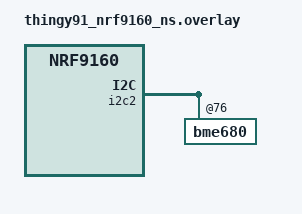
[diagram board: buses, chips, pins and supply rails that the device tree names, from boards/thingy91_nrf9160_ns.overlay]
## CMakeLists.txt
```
#
# Copyright (c) 2022 Nordic Semiconductor ASA
#
# SPDX-License-Identifier: LicenseRef-Nordic-5-Clause
#

cmake_minimum_required(VERSION 3.20.0)

find_package(Zephyr REQUIRED HINTS $ENV{ZEPHYR_BASE})
project(nrf_cloud_mqtt_multi_service)
zephyr_compile_definitions(PROJECT_NAME=${PROJECT_NAME})

# NORDIC SDK APP START
target_sources(app PRIVATE src/main.c)
target_sources(app PRIVATE src/application.c)
target_sources(app PRIVATE src/connection.c)
target_sources(app PRIVATE src/temperature.c)
target_sources(app PRIVATE src/fota_support.c)
target_sources(app PRIVATE src/led_control.c)
target_sources(app PRIVATE src/location_tracking.c)
# NORDIC SDK APP END

zephyr_include_directories(src)
```

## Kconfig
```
#
# Copyright (c) 2022 Nordic Semiconductor ASA
#
# SPDX-License-Identifier: LicenseRef-Nordic-5-Clause
#

menu "MQTT Multi Service Sample Settings"

config APP_VERSION
	string "MQTT Multi Service Sample version"
	default "1.0.0"

config POWER_SAVING_MODE_ENABLE
	bool "Enable Power Saving Mode (PSM)"
	help
	  Enable to request Power Saving Mode from cellular network.

config LTE_INIT_RETRY_TIMEOUT_SECONDS
	int "LTE initialization retry timeout (seconds)"
	default 30
	help
	  Sets the number of seconds between each LTE modem initialization
	  retry.

config CLOUD_CONNECTION_RETRY_TIMEOUT_SECONDS
	int "Cloud connection retry timeout (seconds)"
	default 30
	help
	  If connecting to nRF Cloud takes longer than this timeout, it will be
	  reattempted.

config CLOUD_CONNECTION_REESTABLISH_DELAY_SECONDS
	int "Cloud connection reestablishment delay (seconds)"
	default 5
	help
	  After the connection to nRF Cloud has been reset, wait this amount of
	  time before attempting to connect again.

config CLOUD_READY_TIMEOUT_SECONDS
	int "Cloud readiness timeout (seconds)"
	default 600
	help
	  If the connection to nRF Cloud does not become ready within this
	  timeout, the sample will reset its connection and try again.

config DATE_TIME_ESTABLISHMENT_TIMEOUT_SECONDS
	int "Modem date and time establishment timeout (seconds)"
	default 300
	help
	  The sample will wait this many seconds for the modem to determine the
	  current date and time before giving up and moving on.

config APPLICATION_THREAD_STACK_SIZE
	int "Application Thread Stack Size (bytes)"
	default 2048
	help
	  Sets the stack size (in bytes) for the application thread of the
	  sample.

config CONNECTION_THREAD_STACK_SIZE
	int "Connection Thread Stack Size (bytes)"
	default 2048
	help
	  Sets the stack size (in bytes) for the connection thread of the
	  sample.

config MESSAGE_THREAD_STACK_SIZE
	int "Message Queue Thread Stack Size (bytes)"
	default 2048
	help
	  Sets the stack size (in bytes) for the message queue processing
	  thread of the sample.

config LED_THREAD_STACK_SIZE
	int "LED Thread Stack Size (bytes)"
	default 512
	help
	  Sets the stack size (in bytes) for the LED thread.

config MAX_OUTGOING_MESSAGES
	int "Outgoing message maximum"
	default 64
	help
	  Sets the maximum number of device messages which may be enqueued
	  before further messages are dropped.

config MAX_CONSECUTIVE_SEND_FAILURES
	int "Max outgoing consecutive send failures"
	default 5
	help
	  Sets the maximum number of device messages which may fail to send
	  before a connection reset and cooldown is triggered.

config CONSECUTIVE_SEND_FAILURE_COOLDOWN_SECONDS
	int "Cooldown after max consecutive send failures exceeded"
	default 10
	help
	  If a connection reset is triggered by too many failed device
	  messages, the sample will wait this long (in seconds) before trying
	  again.

config SENSOR_SAMPLE_INTERVAL_SECONDS
	int "Sensor sampling interval (seconds)"
	default 60
	help
	  Sets the time to wait between each sensor sample.

config LOCATION_TRACKING_SAMPLE_INTERVAL_SECONDS
	int "Location sampling interval (seconds)"
	default 60
	help
	  Sets the location sampling interval in seconds.

config LOCATION_TRACKING_GNSS
	bool "Use GNSS method for location tracking"
	default y
	depends on LOCATION_METHOD_GNSS
	help
	  Disable all location tracking methods to completely disable location tracking.

config LOCATION_TRACKING_CELLULAR
	bool "Use cellular method for location tracking"
	default y
	depends on LOCATION_METHOD_CELLULAR
	help
	  Disable all location tracking methods to completely disable location tracking.

config LOCATION_TRACKING_WIFI
	bool "Use Wi-Fi method for location tracking"
	default n
	depends on LOCATION_METHOD_WIFI
	help
	  Requires the use of an nRF7002 companion chip.
	  Disable all location tracking methods to completely disable location tracking.

config TEMP_DATA_USE_SENSOR
	bool "Use genuine temperature data"
	depends on BOARD_THINGY91_NRF9160_NS
	default y if BOARD_THINGY91_NRF9160_NS
	select SENSOR
	select BME680
	help
	  Sets whether to take genuine temperature measurements from a
	  connected BME680 sensor, or just simulate sensor data.

config TEMP_TRACKING
	bool "Track temperature"
	default y
	help
	  Sets whether to take temperature measurements.

config TEMP_ALERT_LIMIT
	int "Temperature limit to send alert"
	default 30
	help
	  Sets the temperature in degrees C over which a temperature alert will
	  be sent to the cloud.

choice
	prompt "LED indication"
	default LED_INDICATION_PWM if BOARD_THINGY91_NRF9160_NS
	default LED_INDICATION_GPIO if BOARD_NRF9160DK_NRF9160_NS || $(dt_compat_enabled,gpio-leds)
	default LED_INDICATION_DISABLED

	config LED_INDICATION_PWM
		select LED
		select LED_PWM
		select PWM
		bool "Enable LED indication using the pwm-leds driver"

	config LED_INDICATION_GPIO
		select LED
		select LED_GPIO
		bool "Enable LED indication using the gpio-leds driver"

	config LED_INDICATION_DISABLED
		bool "Disable LED indication"
endchoice

choice
	prompt "LED indication LED type"
	depends on !LED_INDICATION_DISABLED
	default LED_INDICATOR_RGB if BOARD_THINGY91_NRF9160_NS && LED_INDICATION_PWM
	default LED_INDICATOR_4LED if !LED_INDICATION_DISABLED
	default LED_INDICATOR_NONE

	config LED_INDICATOR_RGB
		depends on LED_INDICATION_PWM
		bool "A single RGB LED"

	config LED_INDICATOR_4LED
		depends on !LED_INDICATION_DISABLED
		bool "Four binary LEDs"

	config LED_INDICATOR_NONE
		depends on LED_INDICATION_DISABLED
		bool "No indicator LEDs"

endchoice

config LED_VERBOSE_INDICATION
	depends on !LED_INDICATION_DISABLED
	bool "Enables extra LED status indications"
	default y

config LED_CONTINUOUS_INDICATION
	depends on !LED_INDICATION_DISABLED
	bool "Show an idle pattern instead of turning LEDs off"
	default y

config GNSS_FIX_TIMEOUT_SECONDS
	int "GNSS Fix timeout"
	default 40
	help
	  On each location sample, try for this long to achieve a GNSS fix
	  before falling back to cellular positioning.
	  Set this to 20 or so seconds below the sensor sample interval so
	  that there is time left over to perform cellular positioning.
	  Otherwise, location samples may occur at a longer interval than
	  requested.

config TEST_COUNTER
	bool "Sets whether the test counter is enabled"

config AT_CMD_REQUESTS
	bool "Enables remote execution of AT commands using device messages"
	default y

config AT_CMD_REQUEST_RESPONSE_BUFFER_LENGTH
	int "Max length (in bytes) for Modem responses during AT command requests"
	help
	  Responses to modem AT commands are stored in a buffer of this length before being sent to
	  nRF Cloud. If a response from the modem exceeds this length, it will be dropped, and an
	  error code sent in its place (-NRF_E2BIG). Cannot be less than 40 bytes.
	default 200

endmenu

module = MQTT_MULTI_SERVICE
module-str = MQTT Multi Service
source "${ZEPHYR_BASE}/subsys/logging/Kconfig.template.log_config"

menu "Zephyr Kernel"
source "Kconfig.zephyr"
endmenu
```

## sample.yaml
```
sample:
  name: nRF Cloud MQTT Multi Service Sample
tests:
  sample.nrf9160.nrf_cloud_mqtt_multi_service:
    build_only: true
    platform_allow: nrf9160dk_nrf9160_ns thingy91_nrf9160_ns
    integration_platforms:
      - nrf9160dk_nrf9160_ns
      - thingy91_nrf9160_ns
    tags: ci_build
```

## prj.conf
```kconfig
#
# Copyright (c) 2022 Nordic Semiconductor ASA
#
# SPDX-License-Identifier: LicenseRef-Nordic-5-Clause
#

# Log level
# For more verbose and detailed log output, set the log level to
# CONFIG_MQTT_MULTI_SERVICE_LOG_LEVEL_DBG=y instead.
CONFIG_MQTT_MULTI_SERVICE_LOG_LEVEL_INF=y

# General config
CONFIG_EVENTS=y
CONFIG_NEWLIB_LIBC=y
CONFIG_NEWLIB_LIBC_FLOAT_PRINTF=y
CONFIG_RESET_ON_FATAL_ERROR=y
CONFIG_NCS_SAMPLES_DEFAULTS=y

#LED indication
# Uncomment these to minimize LED state indication when power savings are necessary
# CONFIG_LED_VERBOSE_INDICATION=n
# CONFIG_LED_CONTINUOUS_INDICATION=n

# Or, uncomment this to completely disable LED state indication
# CONFIG_LED_INDICATION_DISABLED=y

# Improved Logging
# CONFIG_LOG_MODE_DEFERRED allows logging from multiple threads simultaneously without creating
# splintered log entries, at the cost of needing a buffer for storing logs.
CONFIG_LOG_MODE_DEFERRED=y

# CONFIG_LOG_BUFFER_SIZE is the aforementioned buffer. A size of 4096 bytes is useful for debugging
# and prototyping, but is probably more than necessary for production-ready firmware.
CONFIG_LOG_BUFFER_SIZE=4096

# Heap and stacks
# Extended memory heap size needed both for PGPS and for encoding JSON-based nRF Cloud Device Messages.
CONFIG_HEAP_MEM_POOL_SIZE=24576
CONFIG_SYSTEM_WORKQUEUE_STACK_SIZE=3072

# Network
CONFIG_NETWORKING=y
CONFIG_NET_NATIVE=n
CONFIG_NET_SOCKETS=y
CONFIG_NET_SOCKETS_OFFLOAD=y

# Modem library
CONFIG_NRF_MODEM_LIB=y

# AT commands interface
CONFIG_UART_INTERRUPT_DRIVEN=y
CONFIG_AT_HOST_LIBRARY=y

# nRF Cloud
CONFIG_NRF_CLOUD_MQTT=y # This also enables FOTA by implicitly setting CONFIG_NRF_CLOUD_FOTA=y

# MQTT
CONFIG_MQTT_KEEPALIVE=120

# MCUBOOT - Needed by FOTA
CONFIG_BOOTLOADER_MCUBOOT=y
CONFIG_IMG_MANAGER=y
CONFIG_MCUBOOT_IMG_MANAGER=y
CONFIG_STREAM_FLASH_ERASE=y

# Location Services configuration
CONFIG_LOCATION=y
CONFIG_LOCATION_METHOD_GNSS=y
CONFIG_LOCATION_METHOD_CELLULAR=y
CONFIG_NRF_CLOUD_AGPS=y
CONFIG_NRF_CLOUD_LOCATION=y
CONFIG_MODEM_INFO=y
CONFIG_MODEM_INFO_ADD_NETWORK=y
CONFIG_NRF_CLOUD_PGPS=y
CONFIG_NRF_CLOUD_PGPS_REPLACEMENT_THRESHOLD=4
CONFIG_NRF_CLOUD_PGPS_REQUEST_UPON_INIT=y

# Date Time lib - Used by PGPS and main application
CONFIG_DATE_TIME=y

# LTE link control - used by PGPS and main application
CONFIG_LTE_LINK_CONTROL=y
CONFIG_LTE_NETWORK_MODE_LTE_M_GPS=y

# Settings - used by nRF Cloud library and PGPS
CONFIG_SETTINGS=y
CONFIG_SETTINGS_FCB=y
CONFIG_FCB=y

# Download Client - used by FOTA and PGPS
CONFIG_DOWNLOAD_CLIENT=y
CONFIG_DOWNLOAD_CLIENT_HTTP_FRAG_SIZE_1024=y
CONFIG_DOWNLOAD_CLIENT_STACK_SIZE=4096
CONFIG_DOWNLOAD_CLIENT_BUF_SIZE=2300
CONFIG_DOWNLOAD_CLIENT_MAX_HOSTNAME_SIZE=128

# Flash - Used by FOTA and PGPS
CONFIG_FLASH=y
CONFIG_FLASH_PAGE_LAYOUT=y
CONFIG_FLASH_MAP=y
CONFIG_STREAM_FLASH=y
CONFIG_MPU_ALLOW_FLASH_WRITE=y
CONFIG_PM_EXTERNAL_FLASH_MCUBOOT_SECONDARY=n
CONFIG_NRF_CLOUD_ALERT=y
CONFIG_NRF_CLOUD_LOG_DIRECT=y
CONFIG_NRF_CLOUD_LOG_OUTPUT_LEVEL=3
```

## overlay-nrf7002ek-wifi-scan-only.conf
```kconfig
#
# Copyright (c) 2022 Nordic Semiconductor ASA
#
# SPDX-License-Identifier: LicenseRef-Nordic-5-Clause
#

# Overlay to use nRF7002 EK on top of nrf9160 DK for Wi-Fi scanning

# Enable the Wi-Fi location method:
CONFIG_LOCATION_TRACKING_WIFI=y
CONFIG_LOCATION_METHOD_WIFI=y
# Align this with CONFIG_NRF700X_SCAN_LIMIT.
# Also see comments for CONFIG_HEAP_MEM_POOL_SIZE.
CONFIG_LOCATION_METHOD_WIFI_SCANNING_RESULTS_MAX_CNT=60
CONFIG_LOCATION_WORKQUEUE_STACK_SIZE=8192

# Enable Wi-Fi drivers, (and the native NET stack so that the location library can access them)
CONFIG_WIFI=y
CONFIG_NRF_WIFI700X=y
# Align this with CONFIG_LOCATION_METHOD_WIFI_SCANNING_RESULTS_MAX_CNT.
# Also see comments for CONFIG_HEAP_MEM_POOL_SIZE.
CONFIG_NRF700X_SCAN_LIMIT=60
CONFIG_NET_L2_ETHERNET=y
CONFIG_NET_NATIVE=y

# But disable the supplicant and local networking features, since we don't need connectivity
CONFIG_WPA_SUPP=n
CONFIG_MBEDTLS=n
CONFIG_NET_IPV4=n
CONFIG_NET_IPV6=n
CONFIG_NET_UDP=n
CONFIG_NET_TCP=n
CONFIG_NORDIC_SECURITY_BACKEND=n

# Stack/heap tweaks needed to support Wi-Fi.
# Wi-Fi shell sample has 25000 heap size. We need a bit more for location request purposes.
# Heap allocation should be changed when CONFIG_LOCATION_METHOD_WIFI_SCANNING_RESULTS_MAX_CNT
# and CONFIG_NRF700X_SCAN_LIMIT (which should be the same value) are changed.
CONFIG_HEAP_MEM_POOL_SIZE=40000
CONFIG_MAIN_STACK_SIZE=2048
CONFIG_NET_MGMT_EVENT_STACK_SIZE=2048

# NET tweaks needed to support Wi-FI
CONFIG_NET_BUF_RX_COUNT=8
CONFIG_NET_BUF_TX_COUNT=8
CONFIG_NET_PKT_RX_COUNT=1
CONFIG_NET_PKT_TX_COUNT=1
CONFIG_NET_TX_STACK_SIZE=4096
CONFIG_NET_RX_STACK_SIZE=4096
CONFIG_NET_TC_TX_COUNT=1
CONFIG_NET_MAX_CONTEXTS=5

# Disable LED patterns, enabling WiFi scanning takes control of two LEDs
CONFIG_LED_INDICATION_DISABLED=y
```

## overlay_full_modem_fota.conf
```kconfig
# Copyright (c) 2021 Nordic Semiconductor ASA
#
# SPDX-License-Identifier: LicenseRef-Nordic-5-Clause
#

# Full Modem FOTA
CONFIG_NRF_CLOUD_FOTA_FULL_MODEM_UPDATE=y
CONFIG_NRF_MODEM_LIB_SYS_INIT=n
CONFIG_SPI=y
CONFIG_SPI_NOR=y
CONFIG_SPI_NOR_FLASH_LAYOUT_PAGE_SIZE=4096
# FMFU_FDEV requires additional stack space
CONFIG_CONNECTION_THREAD_STACK_SIZE=4096
CONFIG_DFU_TARGET_FULL_MODEM_USE_EXT_PARTITION=y
CONFIG_PM_OVERRIDE_EXTERNAL_DRIVER_CHECK=y
CONFIG_PM_EXTERNAL_FLASH_MCUBOOT_SECONDARY=n
CONFIG_PM_SINGLE_IMAGE=y
```

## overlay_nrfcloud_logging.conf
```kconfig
#
# Copyright (c) 2023 Nordic Semiconductor ASA
#
# SPDX-License-Identifier: LicenseRef-Nordic-5-Clause
#
CONFIG_NRF_CLOUD_LOG_BACKEND=y
CONFIG_NRF_CLOUD_LOG_OUTPUT_LEVEL=3
CONFIG_NRF_CLOUD_LOG_LEVEL_DBG=y
CONFIG_NRF_CLOUD_LOG_LOG_LEVEL_INF=y
CONFIG_LOG_MODE_DEFERRED=y

# If enabled, log levels for each log source can be set per log backend, and
# can be changed dynamically.
CONFIG_LOG_RUNTIME_FILTERING=n

CONFIG_LOG_BUFFER_SIZE=4096

# Select which format to generate. Dictionary logs are compact but require
# decoding on the server or user PC.  Text logs are verbose but immediately
# visible in the nRF Cloud web portal.
CONFIG_LOG_BACKEND_NRF_CLOUD_OUTPUT_DICTIONARY=y
#CONFIG_NRF_CLOUD_LOG_DICT_JSON=y
#CONFIG_LOG_BACKEND_NRF_CLOUD_OUTPUT_TEXT=y

CONFIG_LOG_PROCESS_THREAD_STACK_SIZE=4096
CONFIG_LOG_PROCESS_THREAD_SLEEP_MS=30000
CONFIG_TEMP_ALERT_LIMIT=24
```

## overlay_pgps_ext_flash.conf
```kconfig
#
# Copyright (c) 2022 Nordic Semiconductor ASA
#
# SPDX-License-Identifier: LicenseRef-Nordic-5-Clause
#

CONFIG_PM_OVERRIDE_EXTERNAL_DRIVER_CHECK=y

CONFIG_PM_PARTITION_REGION_PGPS_EXTERNAL=y
CONFIG_NRF_CLOUD_PGPS_STORAGE_PARTITION=y
CONFIG_PM_EXTERNAL_FLASH_MCUBOOT_SECONDARY=n
CONFIG_SPI=y
CONFIG_SPI_NOR=y
CONFIG_SPI_NOR_FLASH_LAYOUT_PAGE_SIZE=4096
```

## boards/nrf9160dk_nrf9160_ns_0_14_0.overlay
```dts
/*
 * Copyright (c) 2022 Nordic Semiconductor ASA
 *
 * SPDX-License-Identifier: LicenseRef-Nordic-5-Clause
 */

/ {
	chosen {
		nordic,pm-ext-flash = &mx25r64;
	};
};

/* External flash device is disabled by default */
&mx25r64 {
	status = "okay";
};
```

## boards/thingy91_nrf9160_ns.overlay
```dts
/* Copyright (c) 2022 Nordic Semiconductor ASA
 *
 * SPDX-License-Identifier: LicenseRef-Nordic-5-Clause
 */

/ {
	aliases {
		temp-sensor = &bme680;
	};
};

&i2c2 {
	bme680: bme680@76 {};
};
```

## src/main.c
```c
/* Copyright (c) 2022 Nordic Semiconductor ASA
 *
 * SPDX-License-Identifier: LicenseRef-Nordic-5-Clause
 */

#include <zephyr/kernel.h>
#include <stdio.h>
#include <zephyr/logging/log.h>
#include "application.h"
#include "connection.h"
#include "led_control.h"

LOG_MODULE_REGISTER(main, CONFIG_MQTT_MULTI_SERVICE_LOG_LEVEL);

/* Here, we start the various threads that our application will run in */

#ifndef CONFIG_LED_INDICATION_DISABLED
/* Define, and automatically start the LED animation thread. See led_control.c */
K_THREAD_DEFINE(led_thread, CONFIG_LED_THREAD_STACK_SIZE, led_animation_thread_fn,
		NULL, NULL, NULL, 0, 0, 0);
#endif

/* Define, and automatically start the main application thread. See application.c */
K_THREAD_DEFINE(app_thread, CONFIG_APPLICATION_THREAD_STACK_SIZE, main_application_thread_fn,
		NULL, NULL, NULL, 0, 0, 0);

/* Define, and automatically start the message queue thread. See connection.c */
K_THREAD_DEFINE(msg_thread, CONFIG_MESSAGE_THREAD_STACK_SIZE, message_queue_thread_fn,
		NULL, NULL, NULL, 0, 0, 0);

/* Define, and automatically start the connection management thread. See connection.c
 *
 * The connection thread is given higher priority (-1) so that it can preempt the other threads,
 * for instance in the event of a call to disconnect_cloud().
 *
 * Priority -1 is also a non-preeemptible priority level, so other threads, even of higher
 * priority, cannot interrupt the connection thread until it yields.
 */
K_THREAD_DEFINE(con_thread, CONFIG_CONNECTION_THREAD_STACK_SIZE, connection_management_thread_fn,
		NULL, NULL, NULL, -1, 0, 0);

/* main() is called from the main thread, which defaults to priority zero,
 * but for illustrative purposes we don't use it. main_application() could be called directly
 * from this function, rather than given its own dedicated thread.
 */
int main(void)
{
	LOG_INF("nRF Cloud MQTT multi-service sample has started, version: %s", CONFIG_APP_VERSION);
	return 0;
}
```

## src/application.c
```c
/* Copyright (c) 2022 Nordic Semiconductor ASA
 *
 * SPDX-License-Identifier: LicenseRef-Nordic-5-Clause
 */

#include <zephyr/kernel.h>
#include <zephyr/logging/log.h>
#include <modem/location.h>
#include <nrf_modem_at.h>
#include <nrf_errno.h>
#include <net/nrf_cloud.h>
#include <net/nrf_cloud_codec.h>
#include <net/nrf_cloud_log.h>
#include <net/nrf_cloud_alert.h>
#include <date_time.h>
#include <stdio.h>

#include "application.h"
#include "temperature.h"
#include "connection.h"

#include "location_tracking.h"
#include "led_control.h"

LOG_MODULE_REGISTER(application, CONFIG_MQTT_MULTI_SERVICE_LOG_LEVEL);

/* Timer used to time the sensor sampling rate. */
static K_TIMER_DEFINE(sensor_sample_timer, NULL, NULL);

/* AT command request error handling */
#define AT_CMD_REQUEST_ERR_FORMAT "Error while processing AT command request: %d"
#define AT_CMD_REQUEST_ERR_MAX_LEN (sizeof(AT_CMD_REQUEST_ERR_FORMAT) + 20)
BUILD_ASSERT(CONFIG_AT_CMD_REQUEST_RESPONSE_BUFFER_LENGTH >= AT_CMD_REQUEST_ERR_MAX_LEN,
	     "Not enough AT command response buffer for printing error events.");

/* Temperature alert limits. */
#define TEMP_ALERT_LIMIT ((float)CONFIG_TEMP_ALERT_LIMIT)
#define TEMP_ALERT_HYSTERESIS 1.5f
#define TEMP_ALERT_LOWER_LIMIT (TEMP_ALERT_LIMIT - TEMP_ALERT_HYSTERESIS)

/* Buffer to contain modem responses when performing AT command requests */
static char at_req_resp_buf[CONFIG_AT_CMD_REQUEST_RESPONSE_BUFFER_LENGTH];

/**
 * @brief Construct a device message object with automatically generated timestamp
 *
 * The resultant JSON object will be conformal to the General Message Schema described in the
 * application-protocols repo:
 *
 * https://github.com/nRFCloud/application-protocols
 *
 * @param msg - The object to contain the message
 * @param appid - The appId for the device message
 * @param msg_type - The messageType for the device message
 * @return int - 0 on success, negative error code otherwise.
 */
static int create_timestamped_device_message(struct nrf_cloud_obj *const msg,
					     const char *const appid,
					     const char *const msg_type)
{
	int err;
	int64_t timestamp;

	/* Acquire timestamp */
	err = date_time_now(&timestamp);
	if (err) {
		LOG_ERR("Failed to obtain current time, error %d", err);
		return -ETIME;
	}

	/* Create message object */
	err = nrf_cloud_obj_msg_init(msg, appid, msg_type);
	if (err) {
		LOG_ERR("Failed to initialize message with appid %s and msg type %s",
			appid, msg_type);
		return err;
	}

	/* Add timestamp to message object */
	err = nrf_cloud_obj_ts_add(msg, timestamp);
	if (err) {
		LOG_ERR("Failed to add timestamp to data message with appid %s and msg type %s",
			appid, msg_type);
		nrf_cloud_obj_free(msg);
		return err;
	}

	return 0;
}

/**
 * @brief Transmit a collected sensor sample to nRF Cloud.
 *
 * @param sensor - The name of the sensor which was sampled.
 * @param value - The sampled sensor value.
 * @return int - 0 on success, negative error code otherwise.
 */
static int send_sensor_sample(const char *const sensor, double value)
{
	int ret;

	NRF_CLOUD_OBJ_JSON_DEFINE(msg_obj);

	/* Create a timestamped message container object for the sensor sample. */
	ret = create_timestamped_device_message(&msg_obj, sensor,
						NRF_CLOUD_JSON_MSG_TYPE_VAL_DATA);
	if (ret) {
		return -EINVAL;
	}

	/* Populate the container object with the sensor value. */
	ret = nrf_cloud_obj_num_add(&msg_obj, NRF_CLOUD_JSON_DATA_KEY, value, false);
	if (ret) {
		LOG_ERR("Failed to append value to %s sample container object ",
			sensor);
		nrf_cloud_obj_free(&msg_obj);
		return -ENOMEM;
	}

	/* Send the sensor sample container object as a device message. */
	return send_device_message(&msg_obj);
}

/**
 * @brief Transmit a collected GNSS sample to nRF Cloud.
 *
 * @param loc_gnss - GNSS location data.
 * @return int - 0 on success, negative error code otherwise.
 */
static int send_gnss(const struct location_event_data * const loc_gnss)
{
	if (!loc_gnss || (loc_gnss->method != LOCATION_METHOD_GNSS)) {
		return -EINVAL;
	}

	int ret = 0;
	struct nrf_cloud_gnss_data gnss_pvt = {
		.type = NRF_CLOUD_GNSS_TYPE_PVT,
		.ts_ms = NRF_CLOUD_NO_TIMESTAMP,
		.pvt = {
			.lon		= loc_gnss->location.longitude,
			.lat		= loc_gnss->location.latitude,
			.accuracy	= loc_gnss->location.accuracy,
			.has_alt	= 0,
			.has_speed	= 0,
			.has_heading	= 0
		}
	};
	NRF_CLOUD_OBJ_JSON_DEFINE(msg_obj);

	/* Add the timestamp */
	(void)date_time_now(&gnss_pvt.ts_ms);

	/* Encode the location data into a device message */
	ret = nrf_cloud_obj_gnss_msg_create(&msg_obj, &gnss_pvt);

	if (ret == 0) {
		/* Send the location message */
		ret = send_device_message(&msg_obj);
	}

	return ret;
}

/**
 * @brief Callback to receive periodic location updates from location_tracking.c and forward them
 * to nRF Cloud.
 *
 * Note that cellular positioning (MCELL/Multi-Cell and SCELL/Single-Cell) is sent to nRF
 * Cloud automatically (since the Location library and nRF Cloud must work together to
 * determine them in the first place). GNSS positions, on the other hand, must be
 * sent manually, since they are determined entirely on-device.
 *
 * @param location_data - The received location update.
 *
 */
static void on_location_update(const struct location_event_data * const location_data)
{
	LOG_INF("Location Updated: %.06f N %.06f W, accuracy: %.01f m, Method: %s",
		location_data->location.latitude,
		location_data->location.longitude,
		location_data->location.accuracy,
		location_method_str(location_data->method));

	/* If the position update was derived using GNSS, send it onward to nRF Cloud. */
	if (location_data->method == LOCATION_METHOD_GNSS) {
		LOG_INF("GNSS Position Update! Sending to nRF Cloud...");
		send_gnss(location_data);
	}
}

/**
 * @brief Receives general device messages from nRF Cloud, checks if they are AT command requests,
 * and performs them if so, transmitting the modem response back to nRF Cloud.
 *
 * Try sending {"appId":"MODEM", "messageType":"CMD", "data":"AT+CGMR"}
 * in the nRF Cloud Portal Terminal card.
 *
 * @param msg - The device message to check.
 */
static void handle_at_cmd_requests(const struct nrf_cloud_data *const dev_msg)
{
	char *cmd;
	struct nrf_cloud_obj msg_obj;
	int err = nrf_cloud_obj_input_decode(&msg_obj, dev_msg);

	if (err) {
		/* The message isn't JSON or otherwise couldn't be parsed. */
		LOG_DBG("A general topic device message of length %d could not be parsed.",
			dev_msg->len);
		return;
	}

	/* Confirm app ID and message type */
	err = nrf_cloud_obj_msg_check(&msg_obj, NRF_CLOUD_JSON_APPID_VAL_MODEM,
				      NRF_CLOUD_JSON_MSG_TYPE_VAL_CMD);
	if (err) {
		goto cleanup;
	}

	/* Get the command string */
	err = nrf_cloud_obj_str_get(&msg_obj, NRF_CLOUD_JSON_DATA_KEY, &cmd);
	if (err) {
		/* Missing or invalid command value will be treated as a blank command */
		cmd = "";
	}

	/* Execute the command and receive the result */
	LOG_DBG("Modem AT command requested: %s", cmd);
	memset(at_req_resp_buf, 0, sizeof(at_req_resp_buf));

	/* We must pass the command in using a format specifier it might contain special characters
	 * such as %.
	 *
	 * We subtract 1 from the passed-in response buffer length to ensure that the response is
	 * always null-terminated, even when the response is longer than the response buffer size.
	 */
	err = nrf_modem_at_cmd(at_req_resp_buf, sizeof(at_req_resp_buf) - 1, "%s", cmd);

	LOG_DBG("Modem AT command response (%d, %d): %s",
		nrf_modem_at_err_type(err), nrf_modem_at_err(err), at_req_resp_buf);

	/* Trim \r\n from modem response for better readability in the portal. */
	at_req_resp_buf[MAX(0, strlen(at_req_resp_buf) - 2)] = '\0';

	/* If an error occurred with the request, report it */
	if (err < 0) {
		/* Negative error codes indicate an error with the modem lib itself, so the
		 * response buffer will be empty (or filled with junk). Thus, we can print the
		 * error message directly into it.
		 */
		snprintf(at_req_resp_buf, sizeof(at_req_resp_buf), AT_CMD_REQUEST_ERR_FORMAT, err);
		LOG_ERR("%s", at_req_resp_buf);
	}

	/* To re-use msg_obj for the response message we must first free its memory and
	 * reset its state.
	 * The cmd string will no longer be valid after msg_obj is freed.
	 */
	cmd = NULL;
	/* Free the object's allocated memory */
	(void)nrf_cloud_obj_free(&msg_obj);
	/* Reset the object's state */
	(void)nrf_cloud_obj_reset(&msg_obj);

	err = create_timestamped_device_message(&msg_obj, NRF_CLOUD_JSON_APPID_VAL_MODEM,
						NRF_CLOUD_JSON_MSG_TYPE_VAL_DATA);
	if (err) {
		return;
	}

	/* Populate response with command result */
	err = nrf_cloud_obj_str_add(&msg_obj, NRF_CLOUD_JSON_DATA_KEY, at_req_resp_buf, false);
	if (err) {
		LOG_ERR("Failed to populate AT CMD response with modem response data");
		goto cleanup;
	}

	/* Send the response */
	err = send_device_message(&msg_obj);
	if (err) {
		LOG_ERR("Failed to send AT CMD request response, error: %d", err);
	}

	return;

cleanup:
	(void)nrf_cloud_obj_free(&msg_obj);
}

/** @brief Check whether temperature is acceptable.
 * If the device exceeds a temperature limit, send the temperature alert one time.
 * Once the temperature falls below a lower limit, re-enable the temperature alert
 * so it will be sent if limit is exceeded again.
 *
 * The difference between the two limits should be sufficient to prevent sending
 * new alerts if the temperature value oscillates between two nearby values.
 *
 * @param temp - The current device temperature.
 */
static void monitor_temperature(double temp)
{
	static bool temperature_alert_active;

	if ((temp > TEMP_ALERT_LIMIT) && !temperature_alert_active) {
		temperature_alert_active = true;
		(void)nrf_cloud_alert_send(ALERT_TYPE_TEMPERATURE, (float)temp,
					   "Temperature over limit!");
		LOG_INF("Temperature limit %f C exceeded: now %f C.",
			TEMP_ALERT_LIMIT, temp);
	} else if ((temp < TEMP_ALERT_LOWER_LIMIT) && temperature_alert_active) {
		temperature_alert_active = false;
		LOG_INF("Temperature now below limit: %f C.", temp);
	}
}

void main_application_thread_fn(void)
{
	if (IS_ENABLED(CONFIG_AT_CMD_REQUESTS)) {
		/* Register with connection.c to receive general device messages and check them for
		 * AT command requests.
		 */
		register_general_dev_msg_handler(handle_at_cmd_requests);
	}

	/* Wait for first connection before starting the application. */
	(void)await_connection(K_FOREVER);

	(void)nrf_cloud_alert_send(ALERT_TYPE_DEVICE_NOW_ONLINE, 0, NULL);

	/* Wait for the date and time to become known.
	 * This is needed both for location services and for sensor sample timestamping.
	 */
	LOG_INF("Waiting for modem to determine current date and time");
	if (!await_date_time_known(K_SECONDS(CONFIG_DATE_TIME_ESTABLISHMENT_TIMEOUT_SECONDS))) {
		LOG_WRN("Failed to determine valid date time. Proceeding anyways");
	} else {
		LOG_INF("Current date and time determined");
	}

	nrf_cloud_log_init();
	/* Send a direct log to the nRF Cloud web portal indicating the sample has started up. */
	nrf_cloud_log_send(LOG_LEVEL_INF, "nRF Cloud MQTT multi-service sample v%s",
			   CONFIG_APP_VERSION);

	/* Begin tracking location at the configured interval. */
	(void)start_location_tracking(on_location_update,
					CONFIG_LOCATION_TRACKING_SAMPLE_INTERVAL_SECONDS);

	int counter = 0;

	/* Begin sampling sensors. */
	while (true) {
		/* Start the sensor sample interval timer.
		 * We use a timer here instead of merely sleeping the thread, because the
		 * application thread can be preempted by other threads performing long tasks
		 * (such as periodic location acquisition), and we want to account for these
		 * delays when metering the sample send rate.
		 */
		k_timer_start(&sensor_sample_timer,
			K_SECONDS(CONFIG_SENSOR_SAMPLE_INTERVAL_SECONDS), K_FOREVER);

		if (IS_ENABLED(CONFIG_TEMP_TRACKING)) {
			double temp = -1;

			if (get_temperature(&temp) == 0) {
				LOG_INF("Temperature is %d degrees C", (int)temp);
				(void)send_sensor_sample(NRF_CLOUD_JSON_APPID_VAL_TEMP, temp);

				monitor_temperature(temp);
			}
		}

		if (IS_ENABLED(CONFIG_TEST_COUNTER)) {
			LOG_INF("Sent test counter = %d", counter);
			(void)send_sensor_sample("COUNT", counter++);
		}

		/* Wait out any remaining time on the sample interval timer. */
		k_timer_status_sync(&sensor_sample_timer);
	}
}
```

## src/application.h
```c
/* Copyright (c) 2022 Nordic Semiconductor ASA
 *
 * SPDX-License-Identifier: LicenseRef-Nordic-5-Clause
 */

#ifndef _APPLICATION_H_
#define _APPLICATION_H_

/**
 * @brief Main application -- Wait for valid connection, start location tracking, and then
 * periodically sample sensors and send them to nRF Cloud.
 */
void main_application(void);

#endif /* _APPLICATION_H_ */
```

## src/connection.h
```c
/* Copyright (c) 2022 Nordic Semiconductor ASA
 *
 * SPDX-License-Identifier: LicenseRef-Nordic-5-Clause
 */

#ifndef _CONNECTION_H_
#define _CONNECTION_H_
#include <cJSON.h>

/**
 * @brief nRF Cloud device message handler.
 *
 * @param[in] dev_msg The received device message as a NULL-terminated string
 */
typedef void (*dev_msg_handler_cb_t)(const char * const dev_msg);

/**
 * @brief Register a device message handler to receive general device messages from nRF Cloud
 *
 * The callback will be called directly from the connection nRF Cloud connection poll thread,
 * so it will block receipt of data from nRF Cloud until complete. Avoid lengthy operations.
 *
 * @param handler_cb - The callback to handle device messages
 */
void register_general_dev_msg_handler(dev_msg_handler_cb_t handler_cb);

/**
 * @brief Check whether we are currently connected to nRF Cloud.
 *
 * @return bool - Whether we are currently connected to nRF Cloud.
 */
bool cloud_is_connected(void);

/**
 * @brief Check whether we are currently disconnecting from nRF Cloud.
 *
 * @return bool - Whether we are currently disconnecting from nRF Cloud.
 */
bool cloud_is_disconnecting(void);

/**
 * @brief Trigger and/or notify of a disconnection from nRF Cloud.
 */
void disconnect_cloud(void);

/**
 * @brief Await a connection to an LTE carrier.
 *
 * @param timeout - The time to wait before timing out.
 * @return true if occurred.
 * @return false if timed out.
 */
bool await_lte_connection(k_timeout_t timeout);

/**
 * @brief Await a disconnection from nRF Cloud.
 *
 * @param timeout - The time to wait before timing out.
 * @return true if occurred.
 * @return false if timed out.
 */
bool await_cloud_disconnection(k_timeout_t timeout);

/**
 * @brief Await a complete and readied connection to nRF Cloud.
 *
 * @param timeout - The time to wait before timing out.
 * @return true if occurred.
 * @return false if timed out.
 */
bool await_connection(k_timeout_t timeout);


/**
 * @brief Await the determination of current date and time by the modem.
 *
 * @param timeout - The time to wait before timing out.
 * @return true if occurred.
 * @return false if timed out.
 */
bool await_date_time_known(k_timeout_t timeout);

/**
 * @brief Consume (attempt to send) a single device message from the device message queue. Will wait
 *        until connection to nRF Cloud is established before actually sending. If message fails
 *	  to send, it will be dropped.
 *
 * @return int - 0 on success, otherwise negative error code.
 */
int consume_device_message(void);

/**
 * @brief Schedule a (null-terminated) string to be sent as a device message payload. Message will
 *	  be held asynchronously until a valid nRF Cloud connection is established. The entire
 *	  message is copied to the heap, so the original string passed need not be held onto.
 * @return int - 0 on success, -ENOMEM if the outgoing message queue is full.
 */
int send_device_message(const char *const msg);

/**
 * @brief Schedule a cJSON object to be sent as a device message payload. Message will
 *	  be held asynchronously until a valid nRF Cloud connection is established.
 * @return int - 0 on success, otherwise negative error.
 */
int send_device_message_cJSON(cJSON *msg_obj);

/**
 * @brief The message queue thread function.
 * Continually consumes device messages from the device message queue.
 */
void message_queue_thread_fn(void);

/**
 * @brief The connection management thread function.
 * Manages our connection to nRF Cloud, resetting and restablishing as necessary.
 */
void connection_management_thread_fn(void);

#endif /* _CONNECTION_H_ */
```

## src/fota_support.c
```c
/* Copyright (c) 2022 Nordic Semiconductor ASA
 *
 * SPDX-License-Identifier: LicenseRef-Nordic-5-Clause
 */

#include <zephyr/kernel.h>
#include <zephyr/logging/log.h>
#include <zephyr/sys/reboot.h>
#include <zephyr/logging/log_ctrl.h>
#include <net/nrf_cloud.h>

#include "fota_support.h"

LOG_MODULE_REGISTER(fota_support, CONFIG_MQTT_MULTI_SERVICE_LOG_LEVEL);

/* Called from nRF Cloud event handler in connection.c */
void on_fota_downloaded(void)
{
	/* Reboot on successful FOTA download. (Thus, enabling the new firmware!) */
	LOG_WRN("Rebooting...");
	LOG_PANIC();
	sys_reboot(SYS_REBOOT_COLD);
}

struct dfu_target_fmfu_fdev * get_full_modem_fota_fdev(void)
{
	if (IS_ENABLED(CONFIG_NRF_CLOUD_FOTA_FULL_MODEM_UPDATE)) {
		static struct dfu_target_fmfu_fdev ext_flash_dev = {
			.size = 0,
			.offset = 0,
			/* CONFIG_DFU_TARGET_FULL_MODEM_USE_EXT_PARTITION is enabled,
			 * so no need to specify the flash device here
			 */
			.dev = NULL
		};

		return &ext_flash_dev;
	}

	return NULL;
}

/* You may notice there is no logic to actually receive/download/apply FOTA updates.
 * That is because these features are automatically implemented for MQTT by enabling
 * CONFIG_NRF_CLOUD_FOTA (which is implicitly enabled by CONFIG_NRF_CLOUD_MQTT).
 *
 * Note, also that connection.c is responsible for actually enabling FOTA in the nRF
 * Cloud portal, (by correctly updating the device shadow) as well as for notifying
 * fota_support.c of FOTA download completion.
 */
```

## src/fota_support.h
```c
/* Copyright (c) 2022 Nordic Semiconductor ASA
 *
 * SPDX-License-Identifier: LicenseRef-Nordic-5-Clause
 */

#ifndef _FOTA_SUPPORT_H_
#define _FOTA_SUPPORT_H_

#include <zephyr/kernel.h>

/**
 * @brief Notify fota_support that a FOTA download has finished.
 *
 * Besides updating the device shadow (handled in connection.c), this is the only additional
 * code needed to get FOTA working properly, and its sole function is to reboot the microcontroller
 * after FOTA download completes.
 *
 */
void on_fota_downloaded(void);

/**
 * @brief Get the external flash device used for full modem FOTA updates.
 *
 * This function returns NULL if CONFIG_NRF_CLOUD_FOTA_FULL_MODEM_UPDATE is not
 * enabled.
 *
 */
struct dfu_target_fmfu_fdev * get_full_modem_fota_fdev(void);

#endif /* _FOTA_SUPPORT_H_ */
```

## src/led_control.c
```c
/* Copyright (c) 2022 Nordic Semiconductor ASA
 *
 * SPDX-License-Identifier: LicenseRef-Nordic-5-Clause
 */
#include <zephyr/kernel.h>
#include <zephyr/logging/log.h>
#include <zephyr/drivers/led.h>
#include <stdlib.h>

#include "led_control.h"

/* We implement, here, both 4-led and RGB LED control, but you may feel free to implement
 * whatever your board can support. You must make sure your board Device Tree Source or overlays
 * include a device marked as compatible with either the pwm-leds or gpio-leds driver in order to
 * use the LED driver provided by Zephyr, as we do here. Both the nRF9160dk and thingy91 have such
 * devices defined in their default Device Tree Sources. See nrf9160dk_nrf9160_common.dts and
 * thingy91_nrf9160_common.dts.
 */

LOG_MODULE_REGISTER(led_control, CONFIG_MQTT_MULTI_SERVICE_LOG_LEVEL);

/* Find a Device Tree node compatible with either the pwm_leds or gpio_leds driver, depending on
 * what has been configured.
 */
#if defined(CONFIG_LED_INDICATION_PWM)
const static struct device *led_device = DEVICE_DT_GET_ANY(pwm_leds);
#elif defined(CONFIG_LED_INDICATION_GPIO)
const static struct device *led_device = DEVICE_DT_GET_ANY(gpio_leds);
#else
const static struct device *led_device;
#endif

#define LED_RGB_R 0
#define LED_RGB_G 1
#define LED_RGB_B 2

#define LED_4LED_1 0
#define LED_4LED_2 1
#define LED_4LED_3 2
#define LED_4LED_4 3

/**
 * @brief If the LED mode is 4 binary LEDs, set the LED state
 *
 * @param l1 - LED 1 on?
 * @param l2 - LED 2 on?
 * @param l3 - LED 3 on?
 * @param l4 - LED 4 on?
 */
static void led_set_4led(bool l1, bool l2, bool l3, bool l4)
{
	led_set_brightness(led_device, LED_4LED_1, l1 ? 100 : 0);
	led_set_brightness(led_device, LED_4LED_2, l2 ? 100 : 0);
	led_set_brightness(led_device, LED_4LED_3, l3 ? 100 : 0);
	led_set_brightness(led_device, LED_4LED_4, l4 ? 100 : 0);
}

/**
 * @brief If the LED mode is RGB, set the RGB values.
 *
 * @param r - LED Red channel.
 * @param g - LED Green channel.
 * @param b - LED Blue channel.
 */
static void led_set_rgb(int r, int g, int b)
{
	led_set_brightness(led_device, LED_RGB_R, r);
	led_set_brightness(led_device, LED_RGB_G, g);
	led_set_brightness(led_device, LED_RGB_B, b);
}

/**
 * @brief Change the LEDs to a pattern that indicates success.
 *
 * @param frame_number - An integer used for basic animations.
 */
static void led_pattern_success(int frame_number)
{
	/* Square wave with period 12 frames and duty cycle 25% */
	bool blink = (frame_number % 12) < 3;

	if (IS_ENABLED(CONFIG_LED_INDICATOR_RGB)) {
		/* Blink the green channel */
		led_set_rgb(0, blink ? 100 : 0, 0);
	} else if (IS_ENABLED(CONFIG_LED_INDICATOR_4LED)) {
		/* Blink alternating diagonals on a 4LED square */
		led_set_4led(blink, !blink, !blink, blink);
	}
}

/**
 * @brief Change the LEDs to a pattern that indicates failure.
 *
 * @param frame_number - An integer used for basic animations.
 */
static void led_pattern_failure(int frame_number)
{
	/* Square wave with period 20 frames and duty cycle 75% */
	int blink = (frame_number % 20) < 15;

	if (IS_ENABLED(CONFIG_LED_INDICATOR_RGB)) {
		/* Blink red channel */
		led_set_rgb(blink ? 100 : 0, 0, 0);
	} else if (IS_ENABLED(CONFIG_LED_INDICATOR_4LED)) {
		/* Blink all four LEDs */
		led_set_4led(blink, blink, blink, blink);
	}
}

/**
 * @brief Change the LEDs to a pattern that indicates no relevant activity.
 *
 * @param frame_number - An integer used for basic animations.
 */
static void led_pattern_idle(int frame_number)
{
	if (IS_ENABLED(CONFIG_LED_INDICATOR_RGB)) {
		/* A triangle wave between 0 and 20 */
		int breath = abs((frame_number % 40) - 20);

		/* Breathe back and forth between cyan and pure blue */
		led_set_rgb(0, breath, 20);
	} else if (IS_ENABLED(CONFIG_LED_INDICATOR_4LED)) {
		/* Square wave with period 40 frames and duty cycle 50% */
		bool blink = (frame_number % 40) < 20;

		/* Blink between two LEDs on opposite sides of a diagonal, of the 4LED square,
		 * namely "LED1" and "LED4" on 9160dk boards
		 */
		led_set_4led(blink, false, false, !blink);
	}
}

/**
 * @brief Change the LEDs to a pattern that indicates waiting.
 *
 * @param frame_number - An integer used for basic animations.
 */
static void led_pattern_waiting(int frame_number)
{
	if (IS_ENABLED(CONFIG_LED_INDICATOR_RGB)) {
		/* A triangle wave between 0 and 10 */
		int breath = abs((frame_number % 20) - 10);

		/* Pulsating orange */
		led_set_rgb(breath * 10, breath, 0);
	} else if (IS_ENABLED(CONFIG_LED_INDICATOR_4LED)) {
		/* Spin a single LED around the 4LED square */
		led_set_4led((frame_number % 4) == 0,
			     (frame_number % 4) == 1,
			     (frame_number % 4) == 3,
			     (frame_number % 4) == 2);
	}
}

/**
 * @brief Disable the LEDs.
 */
static void led_pattern_disabled(void)
{
	if (IS_ENABLED(CONFIG_LED_INDICATOR_RGB)) {
		led_set_rgb(0, 0, 0);
	} else if (IS_ENABLED(CONFIG_LED_INDICATOR_4LED)) {
		led_set_4led(false, false, false, false);
	}
}

/* Zephyr event for signaling cross-thread when an LED pattern has been requested */
#define LED_PATTERN_REQUESTED (1 << 1)
static K_EVENT_DEFINE(led_events);

/* The currently requested pattern, frames of it remaining, and total number of frames it has
 * been executed for. Negative frames remaining indicates an indefinite effect.
 */
atomic_t requested_pattern = LED_DISABLED;
atomic_t requested_pattern_frames_remaining = -1;
atomic_t requested_pattern_animation_frame;

void start_led_pattern(int frames, enum led_pattern pattern)
{
	if (!IS_ENABLED(CONFIG_LED_INDICATION_DISABLED)) {
		atomic_set(&requested_pattern, pattern);
		atomic_set(&requested_pattern_frames_remaining, frames);
		atomic_set(&requested_pattern_animation_frame, 0);
		k_event_post(&led_events, LED_PATTERN_REQUESTED);
		LOG_DBG("LED Pattern Requested");
	}
}

static K_TIMER_DEFINE(led_animate_timer, NULL, NULL);
/**
 * @brief Display a single frame of a specified pattern
 *
 * @param frame_number - The frame number to show.
 * @param led_pattern - The pattern to show.
 */
static void animate_leds_frame(int frame_number, enum led_pattern pattern)
{
	/* Wait for the timer from the previous call to this function to expire, and then
	 * immediately restart the timer.
	 * This guarantees that this function completes, at most, once every frame interval
	 */

	k_timer_status_sync(&led_animate_timer);
	k_timer_start(&led_animate_timer, K_MSEC(100), K_FOREVER);

	/* Run a single frame of the pattern */
	switch (pattern) {
	case LED_IDLE:
		led_pattern_idle(frame_number);
		break;
	case LED_WAITING:
		led_pattern_waiting(frame_number);
		break;
	case LED_FAILURE:
		led_pattern_failure(frame_number);
		break;
	case LED_SUCCESS:
		led_pattern_success(frame_number);
		break;
	default:
		led_pattern_disabled();
	}
}

void led_animation_thread_fn(void)
{
	LOG_DBG("LED Management Started");

	if (!device_is_ready(led_device)) {
		LOG_ERR("No LED device found, cancelling LED indication.");
		return;
	}

	/* Self-request an initial LED update, using the default state, or otherwise keeping what
	 * any pre-existing thread already requested.
	 */
	k_event_post(&led_events, LED_PATTERN_REQUESTED);

	while (true) {
		/* Wait for a pattern to be started */
		k_event_wait(&led_events, LED_PATTERN_REQUESTED, false, K_FOREVER);

		LOG_DBG("LED Pattern Started");
		while (true) {
			/* Decrement frames remaining, and exit if we hit zero, or if
			 * the requested pattern is LED_DISABLED.
			 *
			 * Negative values will indefinitely decrement without hitting zero.
			 */
			int pattern = atomic_get(&requested_pattern);
			int fr = atomic_dec(&requested_pattern_frames_remaining);

			if (fr == 0 || pattern == LED_DISABLED) {
				break;
			}

			/* Perform an animation frame, incrementing the current animation frame
			 * counter. Note that LED_DISABLED will never be performed by this call,
			 * since that pattern causes us to break out of the loop above.
			 */
			animate_leds_frame(atomic_inc(&requested_pattern_animation_frame), pattern);
		}

		/* The pattern has ended, clear the pattern event flag so that a new one can
		 * be requested.
		 */
		k_event_set(&led_events, 0);

		/* Either switch to the IDLE pattern, or disable LEDs without activating a new
		 * pattern, depending on whether continuous indication is requested.
		 */
		if (IS_ENABLED(CONFIG_LED_CONTINUOUS_INDICATION)) {
			long_led_pattern(LED_IDLE);
		} else {
			animate_leds_frame(0, LED_DISABLED);
		}

		LOG_DBG("LED Pattern Ended");
	}
}

void long_led_pattern(enum led_pattern pattern)
{
	start_led_pattern(-1, pattern);
}

void short_led_pattern(enum led_pattern pattern)
{
	start_led_pattern(30, pattern);
}

void stop_led_pattern(void)
{
	short_led_pattern(LED_DISABLED);
}
```

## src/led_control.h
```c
/* Copyright (c) 2022 Nordic Semiconductor ASA
 *
 * SPDX-License-Identifier: LicenseRef-Nordic-5-Clause
 */

#ifndef _LED_CONTROL_H_
#define _LED_CONTROL_H_


enum led_pattern {LED_DISABLED, LED_IDLE, LED_WAITING, LED_FAILURE, LED_SUCCESS};

/**
 * @brief Show an LED pattern for a specified number of animation frames, then go idle.
 *
 * @param frames - The number of frames for which the pattern should be visible.
		 - Negative if forever.
 * @param pattern - The LED pattern to show.
 */
void start_led_pattern(int frames, enum led_pattern pattern);

/**
 * @brief Show an LED pattern for a few seconds, then go idle.
 *
 * @param pattern - The LED pattern to show
 */
void short_led_pattern(enum led_pattern pattern);

/**
 * @brief Show an LED pattern until further notice
 *
 * @param pattern - The LED pattern to show
 */
void long_led_pattern(enum led_pattern pattern);

/**
 * @brief Stop whatever LED pattern is currently being shown.
 */
void stop_led_pattern(void);

/**
 * @brief The LED animation thread function.
 * Run the LED management/animation process.
 */
void led_animation_thread_fn(void);

#endif /* _LED_CONTROL_H_ */
```

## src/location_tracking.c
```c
/* Copyright (c) 2022 Nordic Semiconductor ASA
 *
 * SPDX-License-Identifier: LicenseRef-Nordic-5-Clause
 */


#include <zephyr/kernel.h>
#include <zephyr/logging/log.h>
#include <zephyr/sys/util.h>
#include <modem/location.h>
#include <date_time.h>

#include "location_tracking.h"

LOG_MODULE_REGISTER(location_tracking, CONFIG_MQTT_MULTI_SERVICE_LOG_LEVEL);

static location_update_cb_t location_update_handler;
static bool location_initialized;

static void location_event_handler(const struct location_event_data *event_data)
{
	switch (event_data->id) {
	case LOCATION_EVT_LOCATION:
		LOG_DBG("Location Event: Got location");
		if (location_update_handler) {
			/* Pass received location data along to our handler. */
			location_update_handler(event_data);
		}
		break;

	case LOCATION_EVT_TIMEOUT:
		LOG_DBG("Location Event: Timed out");
		break;

	case LOCATION_EVT_ERROR:
		LOG_DBG("Location Event: Error");
		break;

	case LOCATION_EVT_GNSS_ASSISTANCE_REQUEST:
		LOG_DBG("Location Event: GNSS assistance requested");
		break;

	default:
		LOG_DBG("Location Event: Unknown event");
		break;
	}
}

int start_location_tracking(location_update_cb_t handler_cb, int interval)
{
	int err;

	if (!date_time_is_valid()) {
		LOG_WRN("Date and time unknown. Location Services results may suffer");
	}

	/* Update the location update handler. */
	location_update_handler = handler_cb;

	/* Initialize the Location Services Library. */
	err = location_init(location_event_handler);
	if (err) {
		LOG_ERR("Initializing the Location library failed, error: %d", err);
		return err;
	}
	location_initialized = true;

	/* Construct a request for a periodic location report. */
	struct location_config config;

	/* Select methods based on configuration and load default settings */
	/* Methods will be attempted in the order they are listed here */
	enum location_method methods[] = {
		IF_ENABLED(CONFIG_LOCATION_TRACKING_GNSS,	(LOCATION_METHOD_GNSS,))
		IF_ENABLED(CONFIG_LOCATION_TRACKING_WIFI,	(LOCATION_METHOD_WIFI,))
		IF_ENABLED(CONFIG_LOCATION_TRACKING_CELLULAR,	(LOCATION_METHOD_CELLULAR,))
	};

	if (IS_ENABLED(CONFIG_LOCATION_TRACKING_GNSS)) {
		LOG_DBG("Selected the GNSS location tracking method.");
	}
	if (IS_ENABLED(CONFIG_LOCATION_TRACKING_WIFI)) {
		LOG_DBG("Selected the Wi-Fi location tracking method.");
	}
	if (IS_ENABLED(CONFIG_LOCATION_TRACKING_CELLULAR)) {
		LOG_DBG("Selected the Cellular location tracking method.");
	}
	if (ARRAY_SIZE(methods) == 0) {
		LOG_DBG("No positioning methods selected");
		return 0;
	}

	/* Load default settings accordingly */
	location_config_defaults_set(&config, ARRAY_SIZE(methods), methods);

	/* Set the location report interval. */
	config.interval = interval;

	/* If GNSS location method is enabled, configure it
	 * (note: the GNSS location method is enabled by default in this sample)
	 */
	if (IS_ENABLED(CONFIG_LOCATION_TRACKING_GNSS)) {
		/* Set the GNSS timeout and desired accuracy.
		 * The order of config.methods matches the order of methods, so GNSS will always be
		 * the first element of the array if enabled.
		 */
		config.methods[0].gnss.timeout = CONFIG_GNSS_FIX_TIMEOUT_SECONDS * MSEC_PER_SEC;
		config.methods[0].gnss.accuracy = LOCATION_ACCURACY_NORMAL;
	}

	/* Submit request for periodic location report.
	 * This will cause the configured location_event_handler to start being called with
	 * location data.
	 */
	err = location_request(&config);
	if (err) {
		LOG_ERR("Requesting location failed, error: %d\n", err);
		return err;
	}
	return 0;
}
```

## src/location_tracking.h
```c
/* Copyright (c) 2022 Nordic Semiconductor ASA
 *
 * SPDX-License-Identifier: LicenseRef-Nordic-5-Clause
 */

#ifndef _LOCATION_TRACKING_H_
#define _LOCATION_TRACKING_H_

/* Definition found in location.h */
struct location_event_data;

/**
 * @brief Callback to receive tracked locations.
 *
 * @param[in] location_data The tracked location data.
 */
typedef void (*location_update_cb_t)(const struct location_event_data * const location_data);

/**
 * @brief Start tracking our location at the given interval in seconds.
 *
 * @param handler_cb - Handler callback to receive location updates.
 * @param interval - The interval, in seconds, at which to track our location.
 */
int start_location_tracking(location_update_cb_t handler_cb, int interval);

/**
 * @brief Check whether one of the location tracking methods is enabled
 *
 * @return bool - Whether location tracking of any form is enabled
 */
static inline bool location_tracking_enabled(void)
{
	return IS_ENABLED(CONFIG_LOCATION_TRACKING_GNSS) ||
	       IS_ENABLED(CONFIG_LOCATION_TRACKING_CELLULAR);
}


#endif /* _LOCATION_TRACKING_H_ */
```
